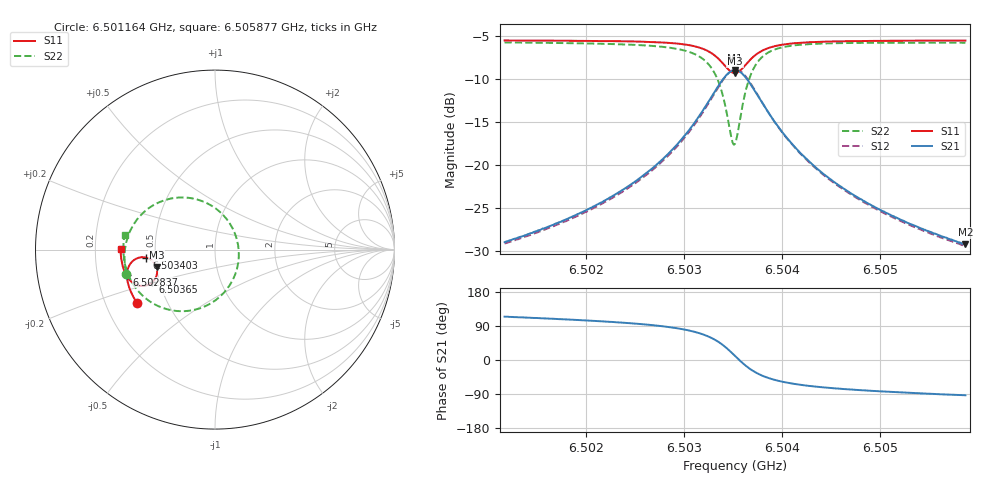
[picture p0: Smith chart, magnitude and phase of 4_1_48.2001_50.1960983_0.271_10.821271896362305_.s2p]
#  HZ  S  RI  R  50.00
! Rohde & Schwarz Vector Network Analyzer
! Rohde-Schwarz,ZNB20-2Port,1311601062101988,3.16
! Created: UTC 3/20/2024, 11:36:09 AM
! freq[Hz]  re:S11  im:S11  re:S21  im:S21  re:S12  im:S12  re:S22  im:S22
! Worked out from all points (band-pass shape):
!   401 points, 6.501164 GHz to 6.505877 GHz, reference 50 ohm
!   highest |S21| = -9.02 dB at 6.50352 GHz (marker M1); lowest = -29.2 dB at 6.505877 GHz (marker M2)
!   |S21| within 3 dB of the highest: 6.503285 GHz to 6.503756 GHz (471.6 kHz wide, 0.00725 % of centre)
!   lowest |S11| = -9.4 dB at 6.50352 GHz (marker M3), VSWR 2.03, Z = 25 - j5.63 ohm
!   |S11| at or under -10 dB: nowhere
!   |S22| runs from -17.6 to -5.8 dB; largest |S21 - S12| = 0.013
!   S11 on the Smith chart (normalised r, x): 6.501164 GHz: 0.34, -0.27; 6.502837 GHz: 0.33, -0.12; 6.503403 GHz: 0.45, -0.05; 6.50365 GHz: 0.46, -0.20; 6.505877 GHz: 0.31, +0.00
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6.5011641e9  -0.4362 -0.2949  -0.0148 0.0326  -0.0129 0.0327  -0.4952 -0.1332
6.5019535e9  -0.4687 -0.2346  -0.0138 0.0514  -0.0113 0.0508  -0.5046 -0.0452
6.5023776e9  -0.4827 -0.1956  -0.0105 0.0713  -0.00732 0.0702  -0.4992 0.0184
6.5027429e9  -0.4905 -0.1531  -0.000366 0.1033  0.00347 0.1008  -0.4761 0.0969
6.5028371e9  -0.4907 -0.1395  0.00569 0.1159  0.00955 0.1128  -0.463 0.1238
6.5030374e9  -0.4848 -0.1048  0.0309 0.1529  0.0346 0.148  -0.4107 0.1948
6.5031788e9  -0.4682 -0.0743  0.0727 0.1879  0.0755 0.1817  -0.3297 0.2549
6.5033084e9  -0.4305 -0.0471  0.1535 0.2142  0.154 0.2077  -0.183 0.2905
6.5034026e9  -0.3817 -0.0451  0.2488 0.1962  0.2488 0.1914  -0.0177 0.2436
6.5034851e9  -0.337 -0.0763  0.33 0.1174  0.3327 0.1132  0.1115 0.0882
6.5035205e9  -0.3258 -0.0994  0.3479 0.0663  0.3519 0.0608  0.1325 -0.00817
6.503544e9  -0.3228 -0.1166  0.3512 0.0302  0.3556 0.023  0.1291 -0.0746
6.5035794e9  -0.3251 -0.142  0.343 -0.0223  0.3469 -0.0317  0.0996 -0.1677
6.5036501e9  -0.3484 -0.181  0.2935 -0.1015  0.2935 -0.1138  -0.0174 -0.2956
6.5037443e9  -0.391 -0.2016  0.2116 -0.146  0.2063 -0.1568  -0.1844 -0.3433
6.5038268e9  -0.422 -0.2009  0.1549 -0.1507  0.1476 -0.1586  -0.2897 -0.3254
6.5039093e9  -0.4449 -0.193  0.1148 -0.1434  0.1072 -0.1488  -0.3593 -0.2912
6.5040742e9  -0.4737 -0.1717  0.0675 -0.121  0.0607 -0.1234  -0.4355 -0.2219
6.5043098e9  -0.4952 -0.1419  0.0359 -0.0945  0.0307 -0.0951  -0.4807 -0.1462
6.5046869e9  -0.5116 -0.1011  0.0151 -0.0681  0.0115 -0.0676  -0.5048 -0.065
6.5050992e9  -0.5206 -0.0621  0.00552 -0.0515  0.00297 -0.0507  -0.5108 -0.00329
6.5058768e9  -0.5261 0.00485  -0.00185 -0.0347  -0.00337 -0.0337  -0.5039 0.0829
